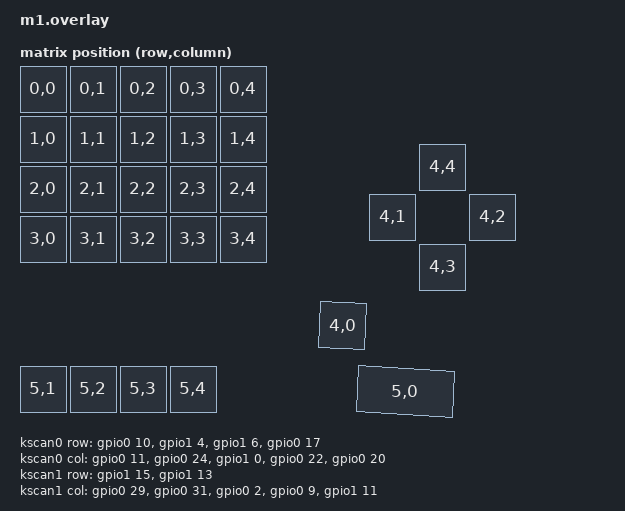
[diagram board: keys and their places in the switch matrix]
#include <dt-bindings/zmk/matrix_transform.h>
#include <physical_layouts.dtsi>

/ {
    chosen {
        zmk,kscan = &kscan_composite;
    };

    kscan0: kscan_matrix_old {
        compatible = "zmk,kscan-gpio-matrix";
        diode-direction = "col2row";
        col-gpios
            = <&gpio0 11 GPIO_ACTIVE_LOW>
            , <&gpio0 24 GPIO_ACTIVE_LOW>
            , <&gpio1 0  GPIO_ACTIVE_LOW>
            , <&gpio0 22 GPIO_ACTIVE_LOW>
            , <&gpio0 20 GPIO_ACTIVE_LOW>
            ;
        row-gpios
            = <&gpio0 10 (GPIO_ACTIVE_LOW | GPIO_PULL_UP)> // Pull-up
            , <&gpio1 4  (GPIO_ACTIVE_LOW | GPIO_PULL_UP)>
            , <&gpio1 6  (GPIO_ACTIVE_LOW | GPIO_PULL_UP)>
            , <&gpio0 17 (GPIO_ACTIVE_LOW | GPIO_PULL_UP)>
            ;
    };

    kscan1: kscan_matrix_new {
        compatible = "zmk,kscan-gpio-matrix";
        diode-direction = "col2row";
        
        col-gpios
            = <&gpio0 29 GPIO_ACTIVE_LOW>
            , <&gpio0 31 GPIO_ACTIVE_LOW>
            , <&gpio0 2  GPIO_ACTIVE_LOW>
            , <&gpio0 9  GPIO_ACTIVE_LOW>
            , <&gpio1 11 GPIO_ACTIVE_LOW>
            ;
            
        row-gpios
            = <&gpio1 15 (GPIO_ACTIVE_LOW | GPIO_PULL_UP)>
            , <&gpio1 13 (GPIO_ACTIVE_LOW | GPIO_PULL_UP)>
            ;
    };

    kscan_composite: kscan_composite {
        compatible = "zmk,kscan-composite";
        rows = <6>;
        columns = <5>;

        matrix_old {
            kscan = <&kscan0>;
        };

        matrix_new {
            kscan = <&kscan1>;
            row-offset = <4>;
        };
    };
// --- ZMK STUDIO REQUIREMENT: Matrix Transform ---
    default_transform: keymap_transform_0 {
        compatible = "zmk,matrix-transform";
        columns = <5>;
        rows = <6>;
        map = <
            RC(0,0) RC(0,1) RC(0,2) RC(0,3) RC(0,4)
            RC(1,0) RC(1,1) RC(1,2) RC(1,3) RC(1,4)
            RC(2,0) RC(2,1) RC(2,2) RC(2,3) RC(2,4)
            RC(3,0) RC(3,1) RC(3,2) RC(3,3) RC(3,4)
            RC(4,0) RC(4,1) RC(4,2) RC(4,3) RC(4,4)
            RC(5,0) RC(5,1) RC(5,2) RC(5,3) RC(5,4)
        >;
    };

    // --- ZMK STUDIO REQUIREMENT: Physical Layout ---
    physical_layout0: physical_layout_0 {
        compatible = "zmk,physical-layout";
        display-name = "M1 Orb Layout";
        transform = <&default_transform>;
        kscan = <&kscan_composite>;
       keys
            // --- HAUPTBLOCK (Bleibt unverändert) ---
            = <&key_physical_attrs 100 100 0 0 0 0 0>
            , <&key_physical_attrs 100 100 100 0 0 0 0>
            , <&key_physical_attrs 100 100 200 0 0 0 0>
            , <&key_physical_attrs 100 100 300 0 0 0 0>
            , <&key_physical_attrs 100 100 400 0 0 0 0>
            
            , <&key_physical_attrs 100 100 0 100 0 0 0>
            , <&key_physical_attrs 100 100 100 100 0 0 0>
            , <&key_physical_attrs 100 100 200 100 0 0 0>
            , <&key_physical_attrs 100 100 300 100 0 0 0>
            , <&key_physical_attrs 100 100 400 100 0 0 0>
            
            , <&key_physical_attrs 100 100 0 200 0 0 0>
            , <&key_physical_attrs 100 100 100 200 0 0 0>
            , <&key_physical_attrs 100 100 200 200 0 0 0>
            , <&key_physical_attrs 100 100 300 200 0 0 0>
            , <&key_physical_attrs 100 100 400 200 0 0 0>
            
            , <&key_physical_attrs 100 100 0 300 0 0 0>
            , <&key_physical_attrs 100 100 100 300 0 0 0>
            , <&key_physical_attrs 100 100 200 300 0 0 0>
            , <&key_physical_attrs 100 100 300 300 0 0 0>
            , <&key_physical_attrs 100 100 400 300 0 0 0>
            
            // --- F-TASTE (BRÜCKE) ---
            // Eingestellt auf X=602, Y=470, Rotation=332
            , <&key_physical_attrs 100 100 602 470 332 602 470> 
            
            // --- STEUERKREUZ (ORB) ---
            // Zentrum: X=799, Y=256, Rotation=0
            // Pivot-Punkt bei allen Tasten auf 799, 256 gesetzt.
            , <&key_physical_attrs 100 100 699 256 0 799 256> // 8 (Links: 799 - 100)
            , <&key_physical_attrs 100 100 899 256 0 799 256> // G (Rechts: 799 + 100)
            , <&key_physical_attrs 100 100 799 356 0 799 256> // B (Unten: 256 + 100)
            , <&key_physical_attrs 100 100 799 156 0 799 256> // Oben leer (256 - 100)
            
            // --- SPACE-TASTE (DAUMEN) ---
            // Eingestellt auf X=678, Y=599, Rotation=332
            , <&key_physical_attrs 200 100 678 599 332 678 599> 
            
            // --- PARKPLATZ FÜR UNGENUTZTE TASTEN ---
            , <&key_physical_attrs 100 100 0 600 0 0 0>   
            , <&key_physical_attrs 100 100 100 600 0 0 0> 
            , <&key_physical_attrs 100 100 200 600 0 0 0> 
            , <&key_physical_attrs 100 100 300 600 0 0 0> 
            ;
    };
};
